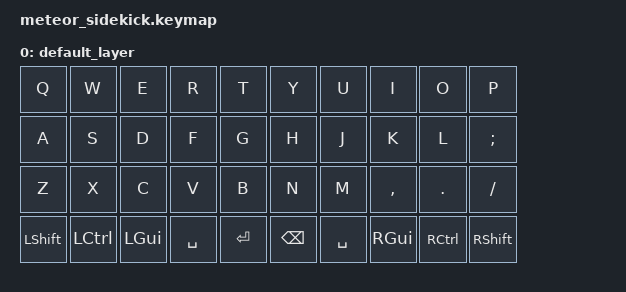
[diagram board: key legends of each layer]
#include <behaviors.dtsi>
#include <dt-bindings/zmk/keys.h>
#include <dt-bindings/zmk/bt.h>
#include <dt-bindings/zmk/outputs.h>

/ {
   keymap {
       compatible = "zmk,keymap";

       default_layer {

           bindings = <
               &kp Q       &kp W       &kp E       &kp R       &kp T       &kp Y       &kp U       &kp I       &kp O       &kp P
               &kp A       &kp S       &kp D       &kp F       &kp G       &kp H       &kp J       &kp K       &kp L       &kp SEMI
               &kp Z       &kp X       &kp C       &kp V       &kp B       &kp N       &kp M       &kp COMMA   &kp DOT     &kp FSLH
               &kp LSHIFT  &kp LCTRL   &kp LGUI    &kp SPACE   &kp ENTER   &kp BSPC    &kp SPACE   &kp RGUI    &kp RCTRL   &kp RSHIFT
               >;
       };
   };
};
